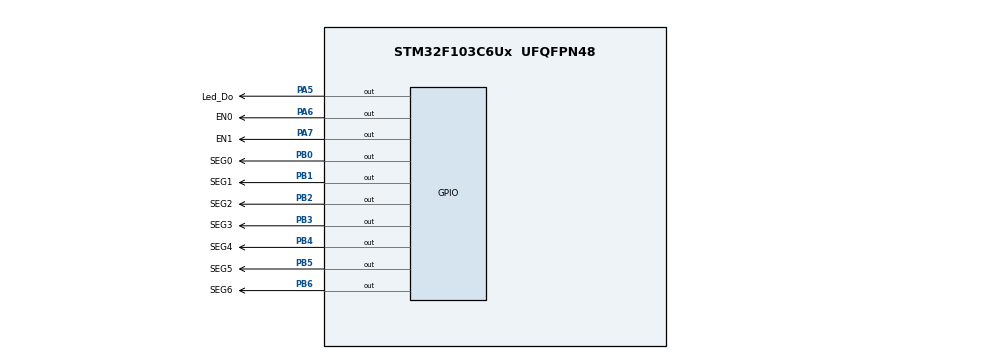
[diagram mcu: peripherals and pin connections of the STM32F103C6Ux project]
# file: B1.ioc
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Mcu.Family=STM32F1
Mcu.Name=STM32F103C6Ux
Mcu.Package=UFQFPN48
NVIC.PriorityGroup=NVIC_PRIORITYGROUP_4
NVIC.TIM2_IRQn=true\:0\:0\:false\:false\:true\:true\:true
PA5.GPIO_Label=Led_Do
PA5.Signal=GPIO_Output
PA6.GPIO_Label=EN0
PA6.Signal=GPIO_Output
PA7.GPIO_Label=EN1
PA7.Signal=GPIO_Output
PB0.GPIO_Label=SEG0
PB0.Signal=GPIO_Output
PB1.GPIO_Label=SEG1
PB1.Signal=GPIO_Output
PB2.GPIO_Label=SEG2
PB2.Signal=GPIO_Output
PB3.GPIO_Label=SEG3
PB3.Signal=GPIO_Output
PB4.GPIO_Label=SEG4
PB4.Signal=GPIO_Output
PB5.GPIO_Label=SEG5
PB5.Signal=GPIO_Output
PB6.GPIO_Label=SEG6
PB6.Signal=GPIO_Output
ProjectManager.HeapSize=0x200
ProjectManager.StackSize=0x400
ProjectManager.TargetToolchain=STM32CubeIDE
RCC.APB1Freq_Value=8000000
RCC.APB2Freq_Value=8000000
TIM2.Period=9
TIM2.Prescaler=7999
VP_SYS_VS_ND.Mode=No_Debug
VP_TIM2_VS_ClockSourceINT.Mode=Internal
board=custom

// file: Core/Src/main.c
/* USER CODE BEGIN Header */
/**
  ******************************************************************************
  * @file           : main.c
  * @brief          : Main program body
  ******************************************************************************
  * @attention
  *
  * <h2><center>&copy; Copyright (c) 2025 STMicroelectronics.
  * All rights reserved.</center></h2>
  *
  * This software component is licensed by ST under BSD 3-Clause license,
  * the "License"; You may not use this file except in compliance with the
  * License. You may obtain a copy of the License at:
  *                        opensource.org/licenses/BSD-3-Clause
  *
  ******************************************************************************
  */
/* USER CODE END Header */
#include "main.h"

TIM_HandleTypeDef htim2;

void SystemClock_Config(void);
static void MX_GPIO_Init(void);
static void MX_TIM2_Init(void);
/* USER CODE BEGIN PFP */
void display7SEG(int num);
/* USER CODE END PFP */

int main(void)
{

  /* MCU Configuration--------------------------------------------------------*/

  /* Reset of all peripherals, Initializes the Flash interface and the Systick. */
  HAL_Init();

  /* Configure the system clock */
  SystemClock_Config();

  /* Initialize all configured peripherals */
  MX_GPIO_Init();
  MX_TIM2_Init();
  /* USER CODE BEGIN 2 */
  HAL_TIM_Base_Start_IT(&htim2);
  /* USER CODE END 2 */

  /* Infinite loop */
  while (1)
  {

  }
}

void SystemClock_Config(void)
{
  RCC_OscInitTypeDef RCC_OscInitStruct = {0};
  RCC_ClkInitTypeDef RCC_ClkInitStruct = {0};

  /** Initializes the RCC Oscillators according to the specified parameters
  * in the RCC_OscInitTypeDef structure.
  */
  RCC_OscInitStruct.OscillatorType = RCC_OSCILLATORTYPE_HSI;
  RCC_OscInitStruct.HSIState = RCC_HSI_ON;
  RCC_OscInitStruct.HSICalibrationValue = RCC_HSICALIBRATION_DEFAULT;
  RCC_OscInitStruct.PLL.PLLState = RCC_PLL_NONE;
  if (HAL_RCC_OscConfig(&RCC_OscInitStruct) != HAL_OK)
  {
    Error_Handler();
  }
  /** Initializes the CPU, AHB and APB buses clocks
  */
  RCC_ClkInitStruct.ClockType = RCC_CLOCKTYPE_HCLK|RCC_CLOCKTYPE_SYSCLK
                              |RCC_CLOCKTYPE_PCLK1|RCC_CLOCKTYPE_PCLK2;
  RCC_ClkInitStruct.SYSCLKSource = RCC_SYSCLKSOURCE_HSI;
  RCC_ClkInitStruct.AHBCLKDivider = RCC_SYSCLK_DIV1;
  RCC_ClkInitStruct.APB1CLKDivider = RCC_HCLK_DIV1;
  RCC_ClkInitStruct.APB2CLKDivider = RCC_HCLK_DIV1;

  if (HAL_RCC_ClockConfig(&RCC_ClkInitStruct, FLASH_LATENCY_0) != HAL_OK)
  {
    Error_Handler();
  }
}

static void MX_TIM2_Init(void)
{

  TIM_ClockConfigTypeDef sClockSourceConfig = {0};
  TIM_MasterConfigTypeDef sMasterConfig = {0};

  htim2.Instance = TIM2;
  htim2.Init.Prescaler = 7999;
  htim2.Init.CounterMode = TIM_COUNTERMODE_UP;
  htim2.Init.Period = 9;
  htim2.Init.ClockDivision = TIM_CLOCKDIVISION_DIV1;
  htim2.Init.AutoReloadPreload = TIM_AUTORELOAD_PRELOAD_DISABLE;
  if (HAL_TIM_Base_Init(&htim2) != HAL_OK)
  {
    Error_Handler();
  }
  sClockSourceConfig.ClockSource = TIM_CLOCKSOURCE_INTERNAL;
  if (HAL_TIM_ConfigClockSource(&htim2, &sClockSourceConfig) != HAL_OK)
  {
    Error_Handler();
  }
  sMasterConfig.MasterOutputTrigger = TIM_TRGO_RESET;
  sMasterConfig.MasterSlaveMode = TIM_MASTERSLAVEMODE_DISABLE;
  if (HAL_TIMEx_MasterConfigSynchronization(&htim2, &sMasterConfig) != HAL_OK)
  {
    Error_Handler();
  }

}

static void MX_GPIO_Init(void)
{
  GPIO_InitTypeDef GPIO_InitStruct = {0};

  /* GPIO Ports Clock Enable */
  __HAL_RCC_GPIOA_CLK_ENABLE();
  __HAL_RCC_GPIOB_CLK_ENABLE();

  /*Configure GPIO pin Output Level */
  HAL_GPIO_WritePin(GPIOA, Led_Do_Pin|EN0_Pin|EN1_Pin, GPIO_PIN_RESET);

  /*Configure GPIO pin Output Level */
  HAL_GPIO_WritePin(GPIOB, SEG0_Pin|SEG1_Pin|SEG2_Pin|SEG3_Pin
                          |SEG4_Pin|SEG5_Pin|SEG6_Pin, GPIO_PIN_RESET);

  /*Configure GPIO pins : Led_Do_Pin EN0_Pin EN1_Pin */
  GPIO_InitStruct.Pin = Led_Do_Pin|EN0_Pin|EN1_Pin;
  GPIO_InitStruct.Mode = GPIO_MODE_OUTPUT_PP;
  GPIO_InitStruct.Pull = GPIO_NOPULL;
  GPIO_InitStruct.Speed = GPIO_SPEED_FREQ_LOW;
  HAL_GPIO_Init(GPIOA, &GPIO_InitStruct);

  /*Configure GPIO pins : SEG0_Pin SEG1_Pin SEG2_Pin SEG3_Pin
                           SEG4_Pin SEG5_Pin SEG6_Pin */
  GPIO_InitStruct.Pin = SEG0_Pin|SEG1_Pin|SEG2_Pin|SEG3_Pin
                          |SEG4_Pin|SEG5_Pin|SEG6_Pin;
  GPIO_InitStruct.Mode = GPIO_MODE_OUTPUT_PP;
  GPIO_InitStruct.Pull = GPIO_NOPULL;
  GPIO_InitStruct.Speed = GPIO_SPEED_FREQ_LOW;
  HAL_GPIO_Init(GPIOB, &GPIO_InitStruct);

}

/* USER CODE BEGIN 4 */
void display7SEG(int num) {
  HAL_GPIO_WritePin(GPIOB, SEG0_Pin|SEG1_Pin|SEG2_Pin|SEG3_Pin|SEG4_Pin|SEG5_Pin|SEG6_Pin, GPIO_PIN_SET);
  switch(num) {
    case 0: HAL_GPIO_WritePin(GPIOB, SEG0_Pin|SEG1_Pin|SEG2_Pin|SEG3_Pin|SEG4_Pin|SEG5_Pin, GPIO_PIN_RESET); break;
    case 1: HAL_GPIO_WritePin(GPIOB, SEG1_Pin|SEG2_Pin, GPIO_PIN_RESET); break;
    case 2: HAL_GPIO_WritePin(GPIOB, SEG0_Pin|SEG1_Pin|SEG3_Pin|SEG4_Pin|SEG6_Pin, GPIO_PIN_RESET); break;
    // Add cases 3-9 if needed
    default: break;
  }
}

void HAL_TIM_PeriodElapsedCallback(TIM_HandleTypeDef *htim) {
  if (htim == &htim2) {
    static uint8_t toggle = 0;
    static uint16_t count = 0;
    static uint16_t led_count = 0;
    count++;
    if (count >= 50) {
      count = 0;
      toggle = !toggle;
    }

    if (toggle) {
      display7SEG(2);
      HAL_GPIO_WritePin(GPIOA, EN0_Pin, GPIO_PIN_SET);
      HAL_GPIO_WritePin(GPIOA, EN1_Pin, GPIO_PIN_RESET);
    } else {
      display7SEG(1);
      HAL_GPIO_WritePin(GPIOA, EN0_Pin, GPIO_PIN_RESET);
      HAL_GPIO_WritePin(GPIOA, EN1_Pin, GPIO_PIN_SET);
    }
    led_count++;
    if (led_count >= 100) {
      led_count = 0;
      #ifdef Led_Do_Pin
        HAL_GPIO_TogglePin(GPIOA, Led_Do_Pin);
      #else
        HAL_GPIO_TogglePin(GPIOA, GPIO_PIN_5);
      #endif
    }
  }
}
/* USER CODE END 4 */

void Error_Handler(void)
{
  __disable_irq();
  while (1)
  {
  }
}

/************************ (C) COPYRIGHT STMicroelectronics *****END OF FILE****/
